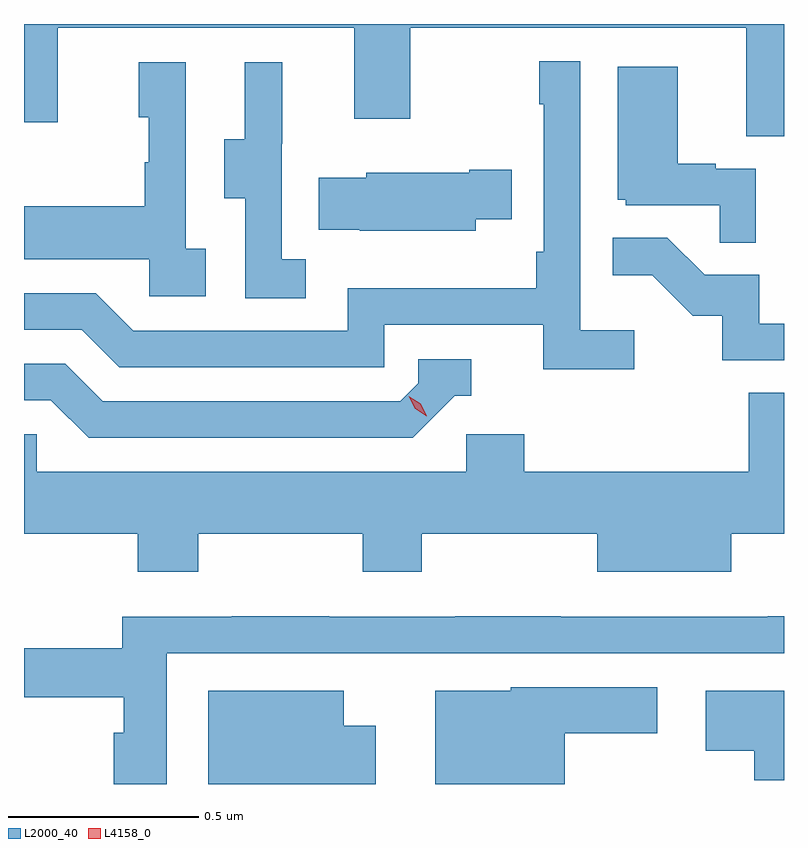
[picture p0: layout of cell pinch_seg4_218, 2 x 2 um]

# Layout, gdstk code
import gdstk
lib = gdstk.Library(unit=1e-6, precision=1e-09)
def P(c, l, *ps):  # polygons
    for p in ps: c.add(gdstk.Polygon(p, *l))
L2000_40 = (2000, 40)
L4158_0 = (4158, 0)

pinch_seg4_218 = lib.new_cell('pinch_seg4_218')
P(pinch_seg4_218, L2000_40, [(1000.5,819.216),(1000.589,819.216),(1000.589,819.464),(1001.369,819.464),(1001.369,819.225),(1001.517,819.225),(1001.517,819.464),(1002.401,819.464),(1002.401,819.178),(1002.5,819.178),(1002.5,819.474),(1000.5,819.474)],
  [(1002.106,818.668),(1001.964,818.668),(1001.964,819.376),(1001.856,819.376),(1001.856,819.263),(1001.868,819.263),(1001.868,818.875),(1001.848,818.875),(1001.848,818.779),(1001.352,818.779),(1001.352,818.667),(1000.788,818.667),(1000.689,818.766),(1000.5,818.766),(1000.5,818.67),(1000.652,818.67),(1000.751,818.571),(1001.448,818.571),(1001.448,818.682),(1001.867,818.682),(1001.867,818.566),(1002.106,818.566)],
  [(1000.978,818.882),(1000.926,818.882),(1000.926,819.373),(1000.802,819.373),(1000.802,819.228),(1000.828,819.228),(1000.828,819.11),(1000.818,819.11),(1000.818,818.995),(1000.5,818.995),(1000.5,818.855),(1000.83,818.855),(1000.83,818.757),(1000.978,818.757)],
  [(1001.242,818.855),(1001.178,818.855),(1001.178,819.159),(1001.18,819.159),(1001.18,819.373),(1001.081,819.373),(1001.081,819.171),(1001.027,819.171),(1001.027,819.016),(1001.082,819.016),(1001.082,818.752),(1001.242,818.752)],
  [(1002.426,819.093),(1002.32,819.093),(1002.32,819.106),(1002.22,819.106),(1002.22,819.361),(1002.062,819.361),(1002.062,819.012),(1002.084,819.012),(1002.084,818.997),(1002.331,818.997),(1002.331,818.899),(1002.426,818.899)],
  [(1001.689,818.96),(1001.783,818.96),(1001.783,819.09),(1001.672,819.09),(1001.672,819.082),(1001.4,819.082),(1001.4,819.07),(1001.275,819.07),(1001.275,818.933),(1001.383,818.933),(1001.383,818.93),(1001.689,818.93)],
  [(1002.5,818.685),(1002.435,818.685),(1002.435,818.814),(1002.291,818.814),(1002.193,818.912),(1002.049,818.912),(1002.049,818.813),(1002.153,818.813),(1002.26,818.706),(1002.337,818.706),(1002.337,818.589),(1002.5,818.589)],
  [(1001.634,818.496),(1001.677,818.496),(1001.677,818.592),(1001.538,818.592),(1001.538,818.529),(1001.49,818.481),(1000.707,818.481),(1000.608,818.58),(1000.5,818.58),(1000.5,818.484),(1000.571,818.484),(1000.67,818.385),(1001.523,818.385)],
  [(1000.959,818.132),(1001.392,818.132),(1001.392,818.033),(1001.547,818.033),(1001.547,818.132),(1002.008,818.132),(1002.008,818.033),(1002.361,818.033),(1002.361,818.132),(1002.5,818.132),(1002.5,818.504),(1002.407,818.504),(1002.407,818.296),(1001.816,818.296),(1001.816,818.394),(1001.664,818.394),(1001.664,818.296),(1000.533,818.296),(1000.533,818.394),(1000.5,818.394),(1000.5,818.132),(1000.799,818.132),(1000.799,818.033),(1000.959,818.033)],
  [(1000.875,817.818),(1002.5,817.818),(1002.5,817.916),(1002.457,817.916),(1002.457,817.914),(1001.912,817.914),(1001.912,817.916),(1001.635,817.916),(1001.635,817.914),(1001.303,817.914),(1001.303,817.916),(1001.047,817.916),(1001.047,817.914),(1000.759,817.914),(1000.759,817.831),(1000.5,817.831),(1000.5,817.702),(1000.763,817.702),(1000.763,817.609),(1000.736,817.609),(1000.736,817.474),(1000.875,817.474)],
  [(1001.923,817.607),(1002.166,817.607),(1002.166,817.729),(1001.781,817.729),(1001.781,817.72),(1001.582,817.72),(1001.582,817.474),(1001.923,817.474)],
  [(1002.5,817.72),(1002.294,817.72),(1002.294,817.562),(1002.422,817.562),(1002.422,817.484),(1002.5,817.484)],
  [(1001.425,817.627),(1001.341,817.627),(1001.341,817.72),(1000.985,817.72),(1000.985,817.474),(1001.425,817.474)])
P(pinch_seg4_218, L4158_0, [(1001.56,818.442),(1001.529,818.461),(1001.512,818.494),(1001.512,818.494),(1001.513,818.494),(1001.544,818.475),(1001.56,818.442),(1001.56,818.442)])

lib.write_gds('pinch_seg4_218.gds')
